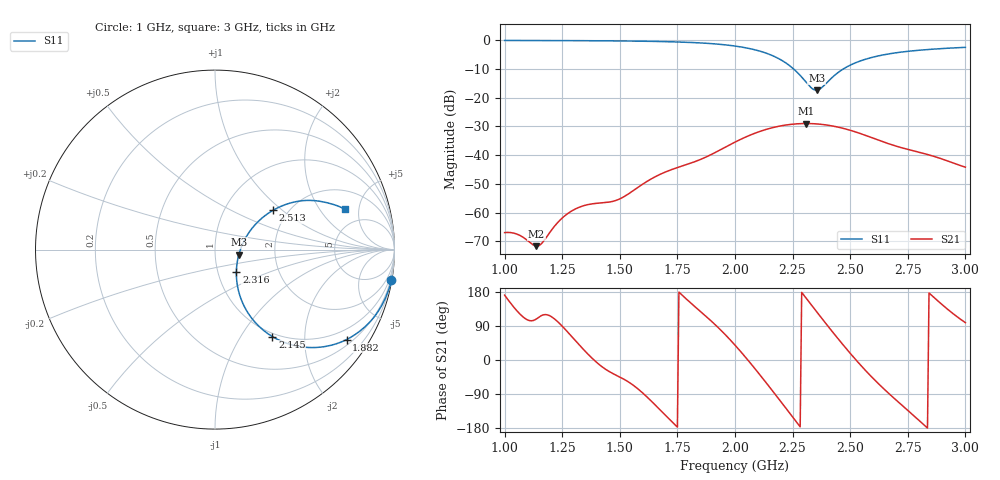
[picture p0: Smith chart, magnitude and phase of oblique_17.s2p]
! TOUCHSTONE file generated by CST MICROWAVE STUDIO
! Date and time: Tue Mar 18 00:00:51 2025
! Project name: oblique.cst
! Parameters = {Tilt=30; Fracture=1; B=10; D=160; F=5; Feed=2.85625; L=100; M=50; R=0.384908; S=2; Theta=180; length=57.125; wave=114.25}
! Header version: 2024
! Port assignment regex: !\s*Touchstone port\s*([0-9]+)\s*=\s*(CST MWS port|CST DES external port|CST DES block port)\s*(.+)\s* \(\"(.*)\"\)(\s*mode\s*([0-9]+))?.*
! Touchstone port assignment:
! Touchstone port 1 = CST MWS port 1 ("")
! Touchstone port 2 = CST MWS port 2 ("")
# GHz S DB R 50
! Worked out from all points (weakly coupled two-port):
!   305 points, 1 GHz to 3 GHz, reference 50 ohm
!   highest |S21| = -28.96 dB at 2.309 GHz (marker M1); lowest = -71.7 dB at 1.138 GHz (marker M2)
!   lowest |S11| = -17.4 dB at 2.355 GHz (marker M3), VSWR 1.31, Z = 65.2 - j3.65 ohm
!   |S11| at or under -10 dB: 2.255 GHz to 2.469 GHz (214.2 MHz wide, 9.07 % of centre)
!   S12 and S22 are empty: the file has one direction only
!   S11 on the Smith chart (normalised r, x): 1 GHz: 0, -12; 1.882 GHz: 0.66, -3.11; 2.145 GHz: 0.95, -1.39; 2.316 GHz: 1.23, -0.32; 2.513 GHz: 1.68, +0.87; 3 GHz: 3.33, +3.53
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1  -0.02 -9.8  -66.98 171.2  -200.00 0.0  -200.00 0.0
1.05921  -0.03 -10.6  -67.68 125.9  -200.00 0.0  -200.00 0.0
1.13816  -0.04 -11.8  -71.71 108.4  -200.00 0.0  -200.00 0.0
1.16447  -0.05 -12.2  -70.44 118.5  -200.00 0.0  -200.00 0.0
1.21711  -0.06 -13.0  -64.70 108.2  -200.00 0.0  -200.00 0.0
1.25658  -0.07 -13.7  -61.44 85.1  -200.00 0.0  -200.00 0.0
1.33553  -0.10 -15.2  -57.80 32.3  -200.00 0.0  -200.00 0.0
1.49342  -0.19 -18.7  -55.46 -43.0  -200.00 0.0  -200.00 0.0
1.67105  -0.38 -24.2  -46.82 -129.3  -200.00 0.0  -200.00 0.0
1.88158  -1.03 -34.4  -40.37 111.2  -200.00 0.0  -200.00 0.0
2  -1.97 -43.0  -35.44 39.3  -200.00 0.0  -200.00 0.0
2.14474  -4.72 -56.6  -30.80 -67.3  -200.00 0.0  -200.00 0.0
2.23026  -8.40 -62.7  -29.38 -134.6  -200.00 0.0  -200.00 0.0
2.30921  -14.63 -50.0  -28.96 162.8  -200.00 0.0  -200.00 0.0
2.31579  -15.25 -46.4  -28.97 157.6  -200.00 0.0  -200.00 0.0
2.33553  -16.82 -31.5  -29.01 142.1  -200.00 0.0  -200.00 0.0
2.35526  -17.36 -11.7  -29.11 126.6  -200.00 0.0  -200.00 0.0
2.375  -16.55 6.7  -29.25 111.2  -200.00 0.0  -200.00 0.0
2.45395  -10.81 33.1  -30.34 51.2  -200.00 0.0  -200.00 0.0
2.51316  -8.14 34.1  -31.64 8.4  -200.00 0.0  -200.00 0.0
2.67105  -4.66 27.9  -36.12 -90.3  -200.00 0.0  -200.00 0.0
3  -2.42 17.4  -44.17 98.6  -200.00 0.0  -200.00 0.0
